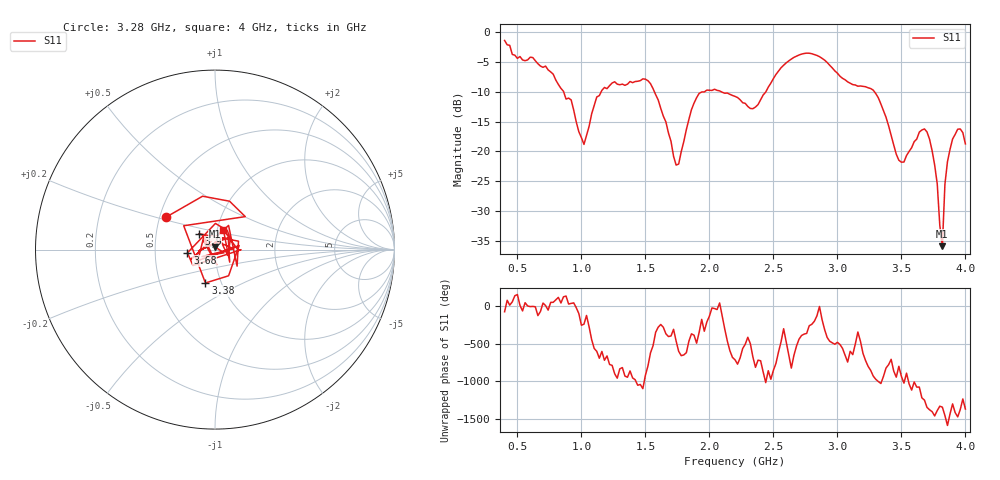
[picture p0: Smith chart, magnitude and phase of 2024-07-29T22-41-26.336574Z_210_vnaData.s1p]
!Created with skrf (http://scikit-rf.org).
# Hz S RI R 50.0
!freq ReS11 ImS11
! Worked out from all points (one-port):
!   181 points, 400 MHz to 4 GHz, reference 50 ohm
!   lowest |S11| = -35.9 dB at 3.82 GHz (marker M1), VSWR 1.03, Z = 49.9 + j1.6 ohm
!   |S11| at or under -10 dB: 1.571 GHz to 1.961 GHz (390.5 MHz wide, 22.1 % of centre); 2.094 GHz to 2.441 GHz (347.5 MHz wide, 15.3 % of centre); 3.29 GHz to end of sweep (the widest 3 of 4)
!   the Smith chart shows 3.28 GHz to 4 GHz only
!   S11 on the Smith chart (normalised r, x): 3.28 GHz: 0.54, +0.22; 3.38 GHz: 0.84, -0.33; 3.68 GHz: 0.73, -0.03; 3.9 GHz: 0.82, +0.15; 4 GHz: 1.07, +0.23
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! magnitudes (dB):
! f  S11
! 400 MHz  -1.4
! 500 MHz  -4.4
! 720 MHz  -5.7
! 860 MHz  -9.9
! 920 MHz  -11.4
! 1.02 GHz  -18.8
! 1.12 GHz  -10.9
! 1.3 GHz  -8.8
! 1.54 GHz  -8.6
! 1.76 GHz  -22.1
! 1.86 GHz  -13.0
! 1.92 GHz  -10.3
! 2.2 GHz  -10.8
! 2.36 GHz  -12.5
! 2.66 GHz  -4.2
! 2.84 GHz  -3.9
! 3.1 GHz  -8.6
! 3.28 GHz  -9.7
! 3.38 GHz  -14.3
! 3.48 GHz  -21.5
! 3.56 GHz  -20.0
! 3.68 GHz  -16.2
! 3.76 GHz  -22.3
! 3.82 GHz  -35.9
! 3.84 GHz  -25.5
! 3.9 GHz  -17.9
! 3.96 GHz  -16.2
! 4 GHz  -18.7
